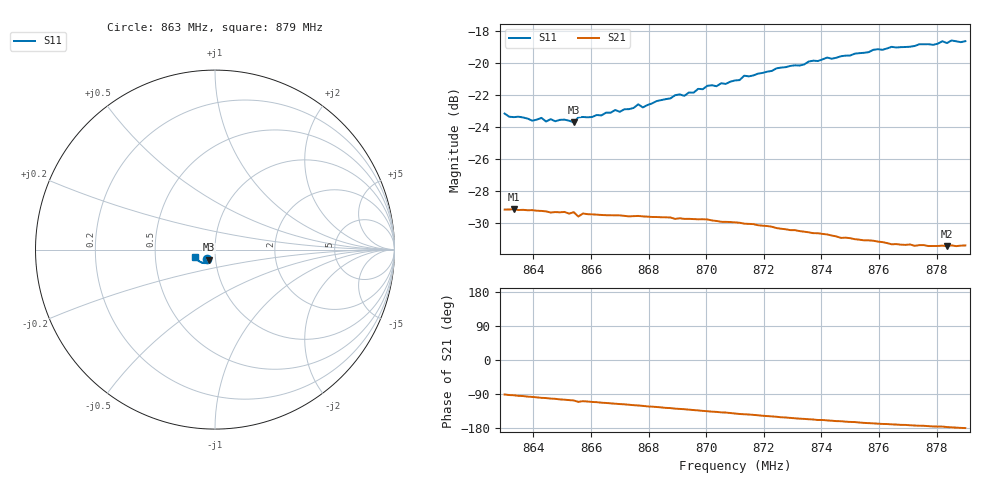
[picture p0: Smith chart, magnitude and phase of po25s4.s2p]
# HZ S RI R 50
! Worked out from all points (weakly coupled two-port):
!   101 points, 863 MHz to 879 MHz, reference 50 ohm
!   highest |S21| = -29.16 dB at 863.32 MHz (marker M1); lowest = -31.5 dB at 878.36 MHz (marker M2)
!   lowest |S11| = -23.7 dB at 865.4 MHz (marker M3), VSWR 1.14, Z = 46.5 - j5.2 ohm
!   |S11| at or under -10 dB: start of sweep to end of sweep
!   S12 and S22 are empty: the file has one direction only
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8.63e8  -0.0438 -0.0538  -0.000657 -0.0348  0 0  0 0
8.6332e8  -0.0415 -0.0534  -0.00185 -0.0348  0 0  0 0
8.6396e8  -0.0377 -0.054  -0.00449 -0.0343  0 0  0 0
8.654e8  -0.0337 -0.0557  -0.00982 -0.0327  0 0  0 0
8.6556e8  -0.0357 -0.0573  -0.0116 -0.031  0 0  0 0
8.6572e8  -0.0348 -0.0581  -0.0108 -0.032  0 0  0 0
8.6636e8  -0.0348 -0.0589  -0.0129 -0.0309  0 0  0 0
8.6684e8  -0.0345 -0.0623  -0.0143 -0.0301  0 0  0 0
8.67e8  -0.0334 -0.0618  -0.0148 -0.0299  0 0  0 0
8.6764e8  -0.0359 -0.0649  -0.0166 -0.0288  0 0  0 0
8.678e8  -0.035 -0.0635  -0.0171 -0.0284  0 0  0 0
8.6844e8  -0.0369 -0.0669  -0.0189 -0.0269  0 0  0 0
8.71e8  -0.049 -0.0732  -0.0247 -0.0198  0 0  0 0
8.7116e8  -0.0493 -0.0732  -0.0251 -0.0193  0 0  0 0
8.7132e8  -0.0512 -0.0754  -0.0251 -0.0188  0 0  0 0
8.7372e8  -0.0688 -0.0747  -0.027 -0.0115  0 0  0 0
8.7644e8  -0.0939 -0.0614  -0.0267 -0.00477  0 0  0 0
8.7788e8  -0.1028 -0.0486  -0.0267 -0.00218  0 0  0 0
8.782e8  -0.1069 -0.047  -0.0267 -0.00199  0 0  0 0
8.7836e8  -0.1061 -0.045  -0.0267 -0.00143  0 0  0 0
8.7852e8  -0.1083 -0.0454  -0.0268 -0.00106  0 0  0 0
8.79e8  -0.1101 -0.039  -0.0269 -0.000176  0 0  0 0
